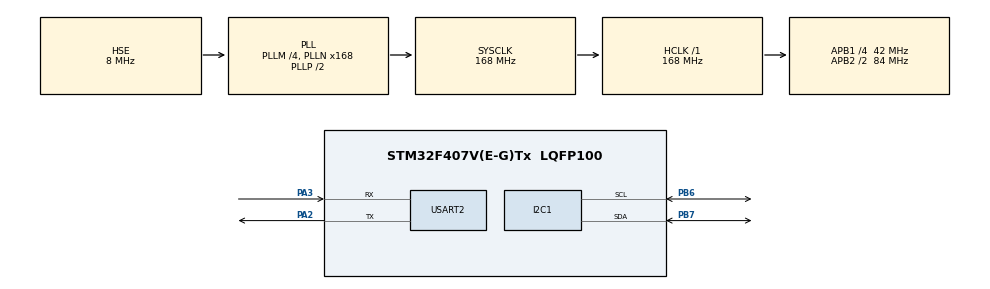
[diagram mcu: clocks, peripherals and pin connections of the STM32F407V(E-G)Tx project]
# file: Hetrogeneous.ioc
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Mcu.Family=STM32F4
Mcu.Name=STM32F407V(E-G)Tx
Mcu.Package=LQFP100
NVIC.PriorityGroup=NVIC_PRIORITYGROUP_0
PA2.Mode=Asynchronous
PA2.Signal=USART2_TX
PA3.Mode=Asynchronous
PA3.Signal=USART2_RX
PB6.Mode=I2C
PB6.Signal=I2C1_SCL
PB7.Mode=I2C
PB7.Signal=I2C1_SDA
PH0-OSC_IN.Mode=HSE-External-Oscillator
PH0-OSC_IN.Signal=RCC_OSC_IN
PH1-OSC_OUT.Mode=HSE-External-Oscillator
PH1-OSC_OUT.Signal=RCC_OSC_OUT
ProjectManager.HeapSize=0x800
ProjectManager.StackSize=0x800
ProjectManager.TargetToolchain=STM32CubeIDE
RCC.48MHZClocksFreq_Value=48000000
RCC.AHBFreq_Value=168000000
RCC.APB1CLKDivider=RCC_HCLK_DIV4
RCC.APB1Freq_Value=42000000
RCC.APB1TimFreq_Value=84000000
RCC.APB2CLKDivider=RCC_HCLK_DIV2
RCC.APB2Freq_Value=84000000
RCC.APB2TimFreq_Value=168000000
RCC.CortexFreq_Value=168000000
RCC.HCLKFreq_Value=168000000
RCC.HSE_VALUE=8000000
RCC.HSI_VALUE=16000000
RCC.LSE_VALUE=32768
RCC.PLLM=4
RCC.PLLN=168
RCC.PLLP=2
RCC.PLLQ=7
RCC.PLLSourceVirtual=RCC_PLLSOURCE_HSE
RCC.SYSCLKFreq_VALUE=168000000
RCC.SYSCLKSource=RCC_SYSCLKSOURCE_PLLCLK
RCC.VCOOutputFreq_Value=336000000
STMicroelectronics.X-CUBE-AI.10.2.1.ActivationBufferSizeList=2676
STMicroelectronics.X-CUBE-AI.10.2.1.ActivationBuffers=pool0
STMicroelectronics.X-CUBE-AI.10.2.1.ActivationNames=pool0
STMicroelectronics.X-CUBE-AI.10.2.1.ActivationSizes=AI_NETWORK_DATA_ACTIVATION_1_SIZE
STMicroelectronics.X-CUBE-AI.10.2.1.ApplicationCcDeviceJjApplication=ApplicationTemplate
STMicroelectronics.X-CUBE-AI.10.2.1.HeapSize=0x800
STMicroelectronics.X-CUBE-AI.10.2.1.InternalRamActivationBufferMaxSize=AI_NETWORK_DATA_ACTIVATIONS_SIZE
STMicroelectronics.X-CUBE-AI.10.2.1.LatestDirectoryUsed-58d09d60a4667660611bcd247794363064c216769c0fe22954a202006f406a89=C\:\\Users\\rajmo\\edge-ai-anomaly-benchmark\\Research\\Exp_01 Heterogeneous Sensor Fusion\\Model
STMicroelectronics.X-CUBE-AI.10.2.1.MaximumNumberOfInputLayer=1
STMicroelectronics.X-CUBE-AI.10.2.1.MaximumNumberOfOutputLayer=1
STMicroelectronics.X-CUBE-AI.10.2.1.MaximumSizeOfInputLayer=1
STMicroelectronics.X-CUBE-AI.10.2.1.MaximumSizeOfOutputLayer=1
STMicroelectronics.X-CUBE-AI.10.2.1.ModelActualCompression-58d09d60a4667660611bcd247794363064c216769c0fe22954a202006f406a89=0.0
STMicroelectronics.X-CUBE-AI.10.2.1.ModelCompression-58d09d60a4667660611bcd247794363064c216769c0fe22954a202006f406a89=None
STMicroelectronics.X-CUBE-AI.10.2.1.ModelFlashOccupation-58d09d60a4667660611bcd247794363064c216769c0fe22954a202006f406a89=16536
STMicroelectronics.X-CUBE-AI.10.2.1.ModelHashList=58d09d60a4667660611bcd247794363064c216769c0fe22954a202006f406a89
STMicroelectronics.X-CUBE-AI.10.2.1.ModelKind-58d09d60a4667660611bcd247794363064c216769c0fe22954a202006f406a89=TFLITE
STMicroelectronics.X-CUBE-AI.10.2.1.ModelMacc-58d09d60a4667660611bcd247794363064c216769c0fe22954a202006f406a89=1440
STMicroelectronics.X-CUBE-AI.10.2.1.ModelName-58d09d60a4667660611bcd247794363064c216769c0fe22954a202006f406a89=network
STMicroelectronics.X-CUBE-AI.10.2.1.ModelNameList=network
STMicroelectronics.X-CUBE-AI.10.2.1.ModelRamOccupation-58d09d60a4667660611bcd247794363064c216769c0fe22954a202006f406a89=2676
STMicroelectronics.X-CUBE-AI.10.2.1.ModelStructureFile-58d09d60a4667660611bcd247794363064c216769c0fe22954a202006f406a89=C\:\\Users\\rajmo\\edge-ai-anomaly-benchmark\\Research\\Exp_01 Heterogeneous Sensor Fusion\\Model\\hetro_lite_model.tflite
STMicroelectronics.X-CUBE-AI.10.2.1.ModelType-58d09d60a4667660611bcd247794363064c216769c0fe22954a202006f406a89=STM32Cube.AI MCU runtime
STMicroelectronics.X-CUBE-AI.10.2.1.ReadyForCodeGeneration=true
STMicroelectronics.X-CUBE-AI.10.2.1.StackSize=0x800
STMicroelectronics.X-CUBE-AI.10.2.1.WorkingBufferStartAddrList=0xFFFFFFFF
STMicroelectronics.X-CUBE-AI.10.2.1.XAaCUBEAaAICcArtificialOoIntelligenceJjCore=true
STMicroelectronics.X-CUBE-AI.10.2.1.copyWeightToRam=false
STMicroelectronics.X-CUBE-AI.10.2.1.copyWeightToRam-58d09d60a4667660611bcd247794363064c216769c0fe22954a202006f406a89=false
STMicroelectronics.X-CUBE-AI.10.2.1.customLayerConfigEnabled=false
STMicroelectronics.X-CUBE-AI.10.2.1.customLayerConfigEnabled-58d09d60a4667660611bcd247794363064c216769c0fe22954a202006f406a89=false
STMicroelectronics.X-CUBE-AI.10.2.1.noOnnxIoTranspose=false
STMicroelectronics.X-CUBE-AI.10.2.1.noOnnxIoTranspose-58d09d60a4667660611bcd247794363064c216769c0fe22954a202006f406a89=false
STMicroelectronics.X-CUBE-AI.10.2.1.useInputAllocation=true
STMicroelectronics.X-CUBE-AI.10.2.1.useInputAllocation-58d09d60a4667660611bcd247794363064c216769c0fe22954a202006f406a89=true
STMicroelectronics.X-CUBE-AI.10.2.1.useOutputAllocation=true
STMicroelectronics.X-CUBE-AI.10.2.1.useOutputAllocation-58d09d60a4667660611bcd247794363064c216769c0fe22954a202006f406a89=true
USART2.VirtualMode=VM_ASYNC
VP_STMicroelectronics.X-CUBE-AI_VS_ArtificialOoIntelligenceJjXAaCUBEAaAI_10.2.1.Mode=ArtificialOoIntelligenceJjXAaCUBEAaAI
VP_STMicroelectronics.X-CUBE-AI_VS_DeviceJjApplication_10.2.1.Mode=DeviceJjApplication
board=STM32F407G-DISC1

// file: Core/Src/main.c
/* USER CODE BEGIN Header */
/**
  ******************************************************************************
  * @file           : main.c
  * @brief          : Main program body
  ******************************************************************************
  * @attention
  *
  * Copyright (c) 2026 STMicroelectronics.
  * All rights reserved.
  *
  * This software is licensed under terms that can be found in the LICENSE file
  * in the root directory of this software component.
  * If no LICENSE file comes with this software, it is provided AS-IS.
  *
  ******************************************************************************
  */
/* USER CODE END Header */
#include "main.h"
#include "app_x-cube-ai.h"

/* USER CODE BEGIN Includes */
#include <stdio.h>
#include <string.h>
/* USER CODE END Includes */

I2C_HandleTypeDef hi2c1;

UART_HandleTypeDef huart2;

/* USER CODE BEGIN PV */
I2C_HandleTypeDef hi2c1;

UART_HandleTypeDef huart2;

#define WINDOW_SIZE 50
#define NUM_FEATURES 5

// Declare the external 1D array
extern float sensor_window[WINDOW_SIZE * NUM_FEATURES];

// Tracks which timestep (0 to 49) we are currently on
int window_index = 0;

// --- I2C Addresses ---
#define MPU6050_ADDR 0xD0
#define INA226_ADDR  0x88

// MPU6050 Registers
#define MPU6050_REG_PWR_MGMT_1   0x6B
#define MPU6050_REG_ACCEL_XOUT_H 0x3B

// INA226 Registers
#define INA226_REG_CONFIG        0x00
#define INA226_REG_BUS_VOLTAGE   0x02
#define INA226_REG_CURRENT       0x04
#define INA226_REG_CALIBRATION   0x05

// --- Sensor Raw Data Arrays ---
uint8_t mpu_data[6];
uint8_t ina_data[2];

// --- Global Sensor Variables ---
// (These are the variables your app_x-cube-ai.c file will read)
float accel_g_x, accel_g_y, accel_g_z;
// INA226 Variables
uint8_t ina_data[2];
int16_t bus_voltage_raw;
float bus_voltage_V;       // Tracks Voltage in Volts
int16_t current_raw;
float current_mA;          // Tracks Current in milliamps

// --- AI Output Variables ---
// (We use 'extern' to fetch these answers from app_x-cube-ai.c)
extern int prediction;

#define WINDOW_SIZE 50
uint8_t prediction_window[WINDOW_SIZE];
int window_idx = 0;

const char* state_names[7] = {
    "Ideal off",                    // Maps to prediction = 0
    "Ideal off fallen",             // Maps to prediction = 1
    "Motor running - Fallen state", // Maps to prediction = 2
	"Motor running - Ideal",        // Maps to prediction = 3
	"Major load",                   // Maps to prediction = 4
    "Minor load",                   // Maps to prediction = 5
    "Heavy Obstacle",               // Maps to prediction = 6
};

// --- UART Buffer ---
char uart_buf[128];
/* USER CODE END PV */

void SystemClock_Config(void);
static void MX_GPIO_Init(void);
static void MX_I2C1_Init(void);
static void MX_USART2_UART_Init(void);
/* USER CODE BEGIN PFP */
int _write(int file, char *ptr, int len)
{
    HAL_UART_Transmit(&huart2, (uint8_t*)ptr, len, HAL_MAX_DELAY);
    return len;
}
/* USER CODE END PFP */

int main(void)
{

  /* MCU Configuration--------------------------------------------------------*/

  /* Reset of all peripherals, Initializes the Flash interface and the Systick. */
  HAL_Init();

  /* Configure the system clock */
  SystemClock_Config();

  /* Initialize all configured peripherals */
  MX_GPIO_Init();
  MX_I2C1_Init();
  MX_USART2_UART_Init();
  MX_X_CUBE_AI_Init();
  /* USER CODE BEGIN 2 */
  // ==========================================
  // 1. SOFTWARE RESET BOTH SENSORS
  // ==========================================
  uint8_t mpu_reset = 0x80;
  HAL_I2C_Mem_Write(&hi2c1, MPU6050_ADDR, 0x6B, 1, &mpu_reset, 1, 100);
  // 1. Wake up MPU6050
  uint8_t wake_up = 0x00;
  HAL_I2C_Mem_Write(&hi2c1, MPU6050_ADDR, MPU6050_REG_PWR_MGMT_1, 1, &wake_up, 1, 100);

  // 2. Configure and Calibrate INA226
  // Write Configuration: 0x4127 (Default: 16 averages, 1.1ms conversion time, continuous mode)
  uint8_t ina_config[2] = {0x41, 0x27};
  HAL_I2C_Mem_Write(&hi2c1, INA226_ADDR, INA226_REG_CONFIG, 1, ina_config, 2, 100);

  // Write Calibration: 0x0200 (Sets Current LSB to 0.1mA for a 0.1 Ohm shunt)
  uint8_t ina226_cal[2] = {0x02, 0x00};
  HAL_I2C_Mem_Write(&hi2c1, INA226_ADDR, INA226_REG_CALIBRATION, 1, ina226_cal, 2, 100);
  // Brief delay to allow sensors to settle
  HAL_Delay(50);
  /* USER CODE END 2 */

  /* Infinite loop */
  /* USER CODE BEGIN WHILE */
  while (1)
  {

	  HAL_I2C_Mem_Read(&hi2c1, MPU6050_ADDR, MPU6050_REG_ACCEL_XOUT_H, 1, mpu_data, 6, 100);
	  float accel_x = (int16_t)(mpu_data[0] << 8 | mpu_data[1]);
	  float accel_y = (int16_t)(mpu_data[2] << 8 | mpu_data[3]);
	  float accel_z = (int16_t)(mpu_data[4] << 8 | mpu_data[5]);

	  accel_g_x = accel_x / 16384.0f;
	  accel_g_y = accel_y / 16384.0f;
	  accel_g_z = accel_z / 16384.0f;

	  // ---------------------------------------------------------
	  // 2. READ INA226 (Current)
	  // ---------------------------------------------------------
	  HAL_I2C_Mem_Read(&hi2c1, INA226_ADDR, INA226_REG_CURRENT, 1, ina_data, 2, 100);
	  current_raw = (int16_t)(ina_data[0] << 8 | ina_data[1]);

	  // With a 0x1000 calibration, the current LSB is 0.1mA
	  current_mA = current_raw * 0.0125f;

	  MX_X_CUBE_AI_Process();

	  // Store the instant result in the Sliding Window
	        prediction_window[window_idx] = prediction;
	        window_idx++;

	        // ---------------------------------------------------------
	        // 5. EVALUATE WINDOW (MAJORITY VOTE)
	        // ---------------------------------------------------------
	        if (window_idx >= WINDOW_SIZE)
	        {
	            // Array to hold the vote tally for all 7 classes
	            int class_counts[7] = {0, 0, 0, 0, 0, 0, 0};

	            // Count how many times each class was predicted in the last 50 loops
	            for (int i = 0; i < WINDOW_SIZE; i++) {
	                class_counts[prediction_window[i]]++;
	            }

	            // Find which class got the highest number of votes
	            int max_votes = 0;
	            uint8_t reliable_status = 0;

	            for (int i = 0; i < 7; i++) {
	                if (class_counts[i] > max_votes) {
	                    max_votes = class_counts[i];
	                    reliable_status = i;
	                }
	            }

	            // Print the filtered, reliable status via UART
	            sprintf(uart_buf, "Reliable Status: %s\r\n", state_names[reliable_status]);
	            HAL_UART_Transmit(&huart2, (uint8_t*)uart_buf, strlen(uart_buf), 100);

	            // Reset window to start collecting the next batch
	            window_idx = 0;
	        }

    /* USER CODE END WHILE */

  MX_X_CUBE_AI_Process();
  }
}

void SystemClock_Config(void)
{
  RCC_OscInitTypeDef RCC_OscInitStruct = {0};
  RCC_ClkInitTypeDef RCC_ClkInitStruct = {0};

  /** Configure the main internal regulator output voltage
  */
  __HAL_RCC_PWR_CLK_ENABLE();
  __HAL_PWR_VOLTAGESCALING_CONFIG(PWR_REGULATOR_VOLTAGE_SCALE1);

  /** Initializes the RCC Oscillators according to the specified parameters
  * in the RCC_OscInitTypeDef structure.
  */
  RCC_OscInitStruct.OscillatorType = RCC_OSCILLATORTYPE_HSE;
  RCC_OscInitStruct.HSEState = RCC_HSE_ON;
  RCC_OscInitStruct.PLL.PLLState = RCC_PLL_ON;
  RCC_OscInitStruct.PLL.PLLSource = RCC_PLLSOURCE_HSE;
  RCC_OscInitStruct.PLL.PLLM = 4;
  RCC_OscInitStruct.PLL.PLLN = 168;
  RCC_OscInitStruct.PLL.PLLP = 2;
  RCC_OscInitStruct.PLL.PLLQ = 7;
  if (HAL_RCC_OscConfig(&RCC_OscInitStruct) != HAL_OK)
  {
    Error_Handler();
  }

  /** Initializes the CPU, AHB and APB buses clocks
  */
  RCC_ClkInitStruct.ClockType = RCC_CLOCKTYPE_HCLK|RCC_CLOCKTYPE_SYSCLK
                              |RCC_CLOCKTYPE_PCLK1|RCC_CLOCKTYPE_PCLK2;
  RCC_ClkInitStruct.SYSCLKSource = RCC_SYSCLKSOURCE_PLLCLK;
  RCC_ClkInitStruct.AHBCLKDivider = RCC_SYSCLK_DIV1;
  RCC_ClkInitStruct.APB1CLKDivider = RCC_HCLK_DIV4;
  RCC_ClkInitStruct.APB2CLKDivider = RCC_HCLK_DIV2;

  if (HAL_RCC_ClockConfig(&RCC_ClkInitStruct, FLASH_LATENCY_5) != HAL_OK)
  {
    Error_Handler();
  }
}

static void MX_I2C1_Init(void)
{

  hi2c1.Instance = I2C1;
  hi2c1.Init.ClockSpeed = 100000;
  hi2c1.Init.DutyCycle = I2C_DUTYCYCLE_2;
  hi2c1.Init.OwnAddress1 = 0;
  hi2c1.Init.AddressingMode = I2C_ADDRESSINGMODE_7BIT;
  hi2c1.Init.DualAddressMode = I2C_DUALADDRESS_DISABLE;
  hi2c1.Init.OwnAddress2 = 0;
  hi2c1.Init.GeneralCallMode = I2C_GENERALCALL_DISABLE;
  hi2c1.Init.NoStretchMode = I2C_NOSTRETCH_DISABLE;
  if (HAL_I2C_Init(&hi2c1) != HAL_OK)
  {
    Error_Handler();
  }

}

static void MX_USART2_UART_Init(void)
{

  huart2.Instance = USART2;
  huart2.Init.BaudRate = 115200;
  huart2.Init.WordLength = UART_WORDLENGTH_8B;
  huart2.Init.StopBits = UART_STOPBITS_1;
  huart2.Init.Parity = UART_PARITY_NONE;
  huart2.Init.Mode = UART_MODE_TX_RX;
  huart2.Init.HwFlowCtl = UART_HWCONTROL_NONE;
  huart2.Init.OverSampling = UART_OVERSAMPLING_16;
  if (HAL_UART_Init(&huart2) != HAL_OK)
  {
    Error_Handler();
  }

}

static void MX_GPIO_Init(void)
{

  /* GPIO Ports Clock Enable */
  __HAL_RCC_GPIOH_CLK_ENABLE();
  __HAL_RCC_GPIOA_CLK_ENABLE();
  __HAL_RCC_GPIOB_CLK_ENABLE();

}

void Error_Handler(void)
{
  __disable_irq();
  while (1)
  {
  }
}
